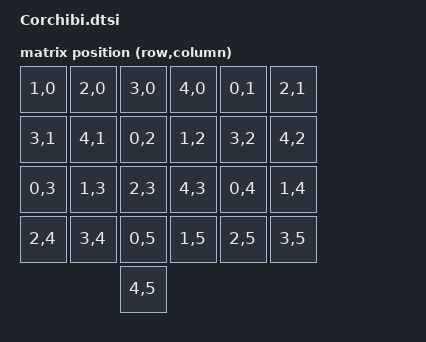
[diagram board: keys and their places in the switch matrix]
#include <dt-bindings/zmk/matrix_transform.h>
#include <physical_layouts.dtsi>

/ {
    chosen {
        zmk,kscan = &kscan0;
        zmk,physical-layout = &physical_layout0;
    };

    physical_layout0: physical_layout0 {
        compatible = "zmk,physical-layout";
        display-name = "Default Layout";
        transform = <&default_transform>;
        keys
            // 1行目 (6キー)
            = <&key_physical_attrs 100 100    0    0 0 0 0>
            , <&key_physical_attrs 100 100  100    0 0 0 0>
            , <&key_physical_attrs 100 100  200    0 0 0 0>
            , <&key_physical_attrs 100 100  300    0 0 0 0>
            , <&key_physical_attrs 100 100  400    0 0 0 0>
            , <&key_physical_attrs 100 100  500    0 0 0 0>
            // 2行目 (6キー)
            , <&key_physical_attrs 100 100    0  100 0 0 0>
            , <&key_physical_attrs 100 100  100  100 0 0 0>
            , <&key_physical_attrs 100 100  200  100 0 0 0>
            , <&key_physical_attrs 100 100  300  100 0 0 0>
            , <&key_physical_attrs 100 100  400  100 0 0 0>
            , <&key_physical_attrs 100 100  500  100 0 0 0>
            // 3行目 (6キー)
            , <&key_physical_attrs 100 100    0  200 0 0 0>
            , <&key_physical_attrs 100 100  100  200 0 0 0>
            , <&key_physical_attrs 100 100  200  200 0 0 0>
            , <&key_physical_attrs 100 100  300  200 0 0 0>
            , <&key_physical_attrs 100 100  400  200 0 0 0>
            , <&key_physical_attrs 100 100  500  200 0 0 0>
            // 4行目 (6キー: 下段のOptやCmd周辺とRaiseキーなど)
            , <&key_physical_attrs 100 100    0  300 0 0 0>
            , <&key_physical_attrs 100 100  100  300 0 0 0>
            , <&key_physical_attrs 100 100  200  300 0 0 0>
            , <&key_physical_attrs 100 100  300  300 0 0 0>
            , <&key_physical_attrs 100 100  400  300 0 0 0>
            , <&key_physical_attrs 100 100  500  300 0 0 0>
            // エンコーダー位置 (1キー)
            , <&key_physical_attrs 100 100  200  400 0 0 0>
            ;
    };

    default_transform: keymap_transform0 {
        compatible = "zmk,matrix-transform";
        columns = <6>;
        rows = <6>;
        // 回路図から読み取った25キーの配線を、上から順に割り当てています
        map = <
            RC(1,0) RC(2,0) RC(3,0) RC(4,0) RC(0,1) RC(2,1)
            RC(3,1) RC(4,1) RC(0,2) RC(1,2) RC(3,2) RC(4,2)
            RC(0,3) RC(1,3) RC(2,3) RC(4,3) RC(0,4) RC(1,4)
            RC(2,4) RC(3,4) RC(0,5) RC(1,5) RC(2,5) RC(3,5)
                                            RC(4,5)
        >;
    };

    kscan0: kscan0 {
        compatible = "zmk,kscan-gpio-charlieplex";
        wakeup-source;
    };
};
